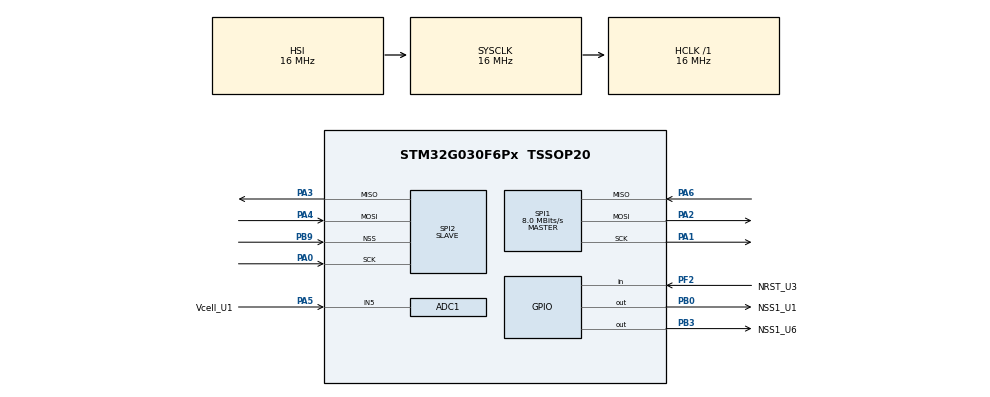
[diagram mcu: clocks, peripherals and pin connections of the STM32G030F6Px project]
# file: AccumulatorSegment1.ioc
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ADC1.Channel-0\#ChannelRegularConversion=ADC_CHANNEL_5
ADC1.NbrOfConversionFlag=1
ADC1.Rank-0\#ChannelRegularConversion=1
ADC1.SamplingTime-0\#ChannelRegularConversion=ADC_SAMPLINGTIME_COMMON_1
ADC1.master=1
Mcu.Family=STM32G0
Mcu.Name=STM32G030F6Px
Mcu.Package=TSSOP20
PA0.Mode=Full_Duplex_Slave
PA0.Signal=SPI2_SCK
PA1.Mode=Full_Duplex_Master
PA1.Signal=SPI1_SCK
PA13.Mode=Serial_Wire
PA13.Signal=SYS_SWDIO
PA14-BOOT0.Mode=Serial_Wire
PA14-BOOT0.Signal=SYS_SWCLK
PA2.Mode=Full_Duplex_Master
PA2.Signal=SPI1_MOSI
PA3.Mode=Full_Duplex_Slave
PA3.Signal=SPI2_MISO
PA4.Mode=Full_Duplex_Slave
PA4.Signal=SPI2_MOSI
PA5.GPIO_Label=Vcell_U1
PA5.Mode=IN5
PA5.Signal=ADC1_IN5
PA6.Mode=Full_Duplex_Master
PA6.Signal=SPI1_MISO
PB0.GPIO_Label=NSS1_U1
PB0.Signal=GPIO_Output
PB3.GPIO_Label=NSS1_U6
PB3.Signal=GPIO_Output
PB9.Mode=NSS_Signal_Hard_Input
PB9.Signal=SPI2_NSS
PF2\ -\ NRST.GPIO_Label=NRST_U3
PF2\ -\ NRST.Signal=GPIO_Input
ProjectManager.HeapSize=0x200
ProjectManager.StackSize=0x400
ProjectManager.TargetToolchain=EWARM V8.32
RCC.AHBFreq_Value=16000000
RCC.CortexFreq_Value=16000000
RCC.EXTERNAL_CLOCK_VALUE=12288000
RCC.HCLKFreq_Value=16000000
RCC.HSE_VALUE=8000000
RCC.HSI_VALUE=16000000
RCC.LSE_VALUE=32768
RCC.SYSCLKFreq_VALUE=16000000
RCC.VCOOutputFreq_Value=128000000
SPI1.CalculateBaudRate=8.0 MBits/s
SPI1.Direction=SPI_DIRECTION_2LINES
SPI1.Mode=SPI_MODE_MASTER
SPI1.VirtualType=VM_MASTER
SPI2.Direction=SPI_DIRECTION_2LINES
SPI2.Mode=SPI_MODE_SLAVE
SPI2.VirtualNSS=VM_NSSHARD
SPI2.VirtualType=VM_SLAVE
board=custom

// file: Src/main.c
/* USER CODE BEGIN Header */
/**
  ******************************************************************************
  * @file           : main.c
  * @brief          : Main program body
  ******************************************************************************
  * @attention
  *
  * <h2><center>&copy; Copyright (c) 2022 STMicroelectronics.
  * All rights reserved.</center></h2>
  *
  * This software component is licensed by ST under BSD 3-Clause license,
  * the "License"; You may not use this file except in compliance with the
  * License. You may obtain a copy of the License at:
  *                        opensource.org/licenses/BSD-3-Clause
  *
  ******************************************************************************
  */
/* USER CODE END Header */

#include "main.h"

/* USER CODE BEGIN PD */
#define SPI_TIMEOUT 50

#define ECS_HIGH 	0x80
#define SC0_HIGH 	0x40
#define SC1_HIGH 	0x20
#define SC2_HIGH 	0x10
#define SC3_HIGH 	0x08
#define SMPLB_HIGH 	0x04
#define DIAG_HIGH 	0x02
#define LOPW_HIGH 	0x01
/* USER CODE END PD */

ADC_HandleTypeDef hadc1;

SPI_HandleTypeDef hspi1;
SPI_HandleTypeDef hspi2;

void SystemClock_Config(void);
static void MX_GPIO_Init(void);
static void MX_ADC1_Init(void);
static void MX_SPI1_Init(void);
static void MX_SPI2_Init(void);

/* USER CODE BEGIN 0 */
int
/* USER CODE END 0 */

int main(void)
{

	/* MCU Configuration--------------------------------------------------------*/

	/* Reset of all peripherals, Initializes the Flash interface and the Systick. */
	HAL_Init();

	/* Configure the system clock */
	SystemClock_Config();

	/* Initialize all configured peripherals */
	MX_GPIO_Init();
	MX_ADC1_Init();
	MX_SPI1_Init();
	MX_SPI2_Init();
	/* USER CODE BEGIN 2 */

	//Initialize chip select GPIO pins.
	//These are active low, so SETing turns it off and RESETing turns it on.
	//Set SPI1 bus to talk to U1. This never needs to go off
	HAL_GPIO_WritePin(NSS1_U1_GPIO_PORT, NSS1_U1_PIN, GPIO_PIN_RESET);
	//Set SPI1 bus to not talk to U6
	HAL_GPIO_WritePin(NSS1_U6_GPIO_PORT, NSS1_U6_PIN, GPIO_PIN_SET);

	unsigned char u1_buffer_in[] = {0x00, 0x00, 0x80};
	unsigned char * balance_low = &u1_buffer_in[0];
	unsigned char * balance_high = &u1_buffer_in[1];
	unsigned char * config = &u1_buffer_in[2];

	uint16_t cell_voltages[12] = {0};
	uint16_t u6_buffer_in[4] = {0};
	/* USER CODE END 2 */

	/* Infinite loop */
	while (1)
	{

		//sorry in advance for the indentation

		*balance_low = 0;
		*balance_high = 0;
		//Measure voltage of every set of cells
		for (int i = 0; i < 12; i++) {
		  *config = 0x80;
		  //Set SC0 through SC3, depending on the value of i
		  int cell = i;
		  if (cell / 8 != 0) {
			  i -= 8;
			  *config = *config || SC3_HIGH;
		  }
		  if (i / 4 != 0) {
			  cell -= 4;
			  *config = *config || SC2_HIGH;
		  }
		  if (i / 2 != 0) {
			  cell -= 2;
			  *config = *config || SC1_HIGH;
		  }
		  if (cell == 1) {
			  *config = *config || SC0_HIGH;
		  }
		  //tell MAX14920 to measure voltage of cell i
		  HAL_SPI_Transmit(&hspi1, u1_buffer_in, 3, SPI_TIMEOUT);

		  //time delay to allow voltage measurement to settle.
		  //According to MAX14920 datasheet, we should have a delay of over 5us.
		  //I was gonna do this with a bunch of NOP instructions, but it turns out
		  //	that reading from ADC takes a few microseconds anyways.
		//		  for (int j = 0; j < 200; j++) {
		//			  asm("NOP");
		//		  }

		  //read voltage of cell i from ADC
		  HAL_ADC_Start(&hadc1);
		  HAL_ADC_PollForConversion(&adc1, 2);
		  cell_voltages[i] = HAL_ADC_GetValue(&hadc1);
		}

		HAL_SPI_Transmit(&hspi2, cell_voltages, 12 * sizeof(uint16_t), SPI_TIMEOUT);

		//Set SPI1 bus to talk to the other MAX14920
		HAL_GPIO_WritePin(NSS1_U6_GPIO_PORT, NSS1_U6_PIN, GPIO_PIN_RESET);

		//wait for cell voltages to come in over SPI from the other MAX14920.
		//we don't actually need the values (the BMS_controller does) but we want to make sure
		//we wait for them.

		HAL_SPI_Recieve(&hspi2, buffer_in, 4, 200);

		//we don't need to get info from the other MAX14920 anymore, so disconnect it
		HAL_GPIO_WritePin(NSS1_U6_GPIO_PORT, NSS1_U6_PIN, GPIO_PIN_SET);

	}
}

void SystemClock_Config(void)
{
  RCC_OscInitTypeDef RCC_OscInitStruct = {0};
  RCC_ClkInitTypeDef RCC_ClkInitStruct = {0};
  RCC_PeriphCLKInitTypeDef PeriphClkInit = {0};

  /** Configure the main internal regulator output voltage
  */
  HAL_PWREx_ControlVoltageScaling(PWR_REGULATOR_VOLTAGE_SCALE1);
  /** Initializes the CPU, AHB and APB busses clocks
  */
  RCC_OscInitStruct.OscillatorType = RCC_OSCILLATORTYPE_HSI;
  RCC_OscInitStruct.HSIState = RCC_HSI_ON;
  RCC_OscInitStruct.HSIDiv = RCC_HSI_DIV1;
  RCC_OscInitStruct.HSICalibrationValue = RCC_HSICALIBRATION_DEFAULT;
  RCC_OscInitStruct.PLL.PLLState = RCC_PLL_NONE;
  if (HAL_RCC_OscConfig(&RCC_OscInitStruct) != HAL_OK)
  {
    Error_Handler();
  }
  /** Initializes the CPU, AHB and APB busses clocks
  */
  RCC_ClkInitStruct.ClockType = RCC_CLOCKTYPE_HCLK|RCC_CLOCKTYPE_SYSCLK
                              |RCC_CLOCKTYPE_PCLK1;
  RCC_ClkInitStruct.SYSCLKSource = RCC_SYSCLKSOURCE_HSI;
  RCC_ClkInitStruct.AHBCLKDivider = RCC_SYSCLK_DIV1;
  RCC_ClkInitStruct.APB1CLKDivider = RCC_HCLK_DIV1;

  if (HAL_RCC_ClockConfig(&RCC_ClkInitStruct, FLASH_LATENCY_0) != HAL_OK)
  {
    Error_Handler();
  }
  /** Initializes the peripherals clocks
  */
  PeriphClkInit.PeriphClockSelection = RCC_PERIPHCLK_ADC;
  PeriphClkInit.AdcClockSelection = RCC_ADCCLKSOURCE_SYSCLK;
  if (HAL_RCCEx_PeriphCLKConfig(&PeriphClkInit) != HAL_OK)
  {
    Error_Handler();
  }
}

static void MX_ADC1_Init(void)
{

  ADC_ChannelConfTypeDef sConfig = {0};

  /** Configure the global features of the ADC (Clock, Resolution, Data Alignment and number of conversion)
  */
  hadc1.Instance = ADC1;
  hadc1.Init.ClockPrescaler = ADC_CLOCK_SYNC_PCLK_DIV2;
  hadc1.Init.Resolution = ADC_RESOLUTION_12B;
  hadc1.Init.DataAlign = ADC_DATAALIGN_RIGHT;
  hadc1.Init.ScanConvMode = ADC_SCAN_DISABLE;
  hadc1.Init.EOCSelection = ADC_EOC_SINGLE_CONV;
  hadc1.Init.LowPowerAutoWait = DISABLE;
  hadc1.Init.LowPowerAutoPowerOff = DISABLE;
  hadc1.Init.ContinuousConvMode = DISABLE;
  hadc1.Init.NbrOfConversion = 1;
  hadc1.Init.DiscontinuousConvMode = DISABLE;
  hadc1.Init.ExternalTrigConv = ADC_SOFTWARE_START;
  hadc1.Init.ExternalTrigConvEdge = ADC_EXTERNALTRIGCONVEDGE_NONE;
  hadc1.Init.DMAContinuousRequests = DISABLE;
  hadc1.Init.Overrun = ADC_OVR_DATA_PRESERVED;
  hadc1.Init.SamplingTimeCommon1 = ADC_SAMPLETIME_1CYCLE_5;
  hadc1.Init.SamplingTimeCommon2 = ADC_SAMPLETIME_1CYCLE_5;
  hadc1.Init.OversamplingMode = DISABLE;
  hadc1.Init.TriggerFrequencyMode = ADC_TRIGGER_FREQ_HIGH;
  if (HAL_ADC_Init(&hadc1) != HAL_OK)
  {
    Error_Handler();
  }
  /** Configure Regular Channel
  */
  sConfig.Channel = ADC_CHANNEL_5;
  sConfig.Rank = ADC_REGULAR_RANK_1;
  sConfig.SamplingTime = ADC_SAMPLINGTIME_COMMON_1;
  if (HAL_ADC_ConfigChannel(&hadc1, &sConfig) != HAL_OK)
  {
    Error_Handler();
  }

}

static void MX_SPI1_Init(void)
{

  /* SPI1 parameter configuration*/
  hspi1.Instance = SPI1;
  hspi1.Init.Mode = SPI_MODE_MASTER;
  hspi1.Init.Direction = SPI_DIRECTION_2LINES;
  hspi1.Init.DataSize = SPI_DATASIZE_8BIT;
  hspi1.Init.CLKPolarity = SPI_POLARITY_LOW;
  hspi1.Init.CLKPhase = SPI_PHASE_1EDGE;
  hspi1.Init.NSS = SPI_NSS_SOFT;
  hspi1.Init.BaudRatePrescaler = SPI_BAUDRATEPRESCALER_2;
  hspi1.Init.FirstBit = SPI_FIRSTBIT_MSB;
  hspi1.Init.TIMode = SPI_TIMODE_DISABLE;
  hspi1.Init.CRCCalculation = SPI_CRCCALCULATION_DISABLE;
  hspi1.Init.CRCPolynomial = 7;
  hspi1.Init.CRCLength = SPI_CRC_LENGTH_DATASIZE;
  hspi1.Init.NSSPMode = SPI_NSS_PULSE_ENABLE;
  if (HAL_SPI_Init(&hspi1) != HAL_OK)
  {
    Error_Handler();
  }

}

static void MX_SPI2_Init(void)
{

  /* SPI2 parameter configuration*/
  hspi2.Instance = SPI2;
  hspi2.Init.Mode = SPI_MODE_SLAVE;
  hspi2.Init.Direction = SPI_DIRECTION_2LINES;
  hspi2.Init.DataSize = SPI_DATASIZE_8BIT;
  hspi2.Init.CLKPolarity = SPI_POLARITY_LOW;
  hspi2.Init.CLKPhase = SPI_PHASE_1EDGE;
  hspi2.Init.NSS = SPI_NSS_HARD_INPUT;
  hspi2.Init.FirstBit = SPI_FIRSTBIT_MSB;
  hspi2.Init.TIMode = SPI_TIMODE_DISABLE;
  hspi2.Init.CRCCalculation = SPI_CRCCALCULATION_DISABLE;
  hspi2.Init.CRCPolynomial = 7;
  hspi2.Init.CRCLength = SPI_CRC_LENGTH_DATASIZE;
  hspi2.Init.NSSPMode = SPI_NSS_PULSE_DISABLE;
  if (HAL_SPI_Init(&hspi2) != HAL_OK)
  {
    Error_Handler();
  }

}

static void MX_GPIO_Init(void)
{
  GPIO_InitTypeDef GPIO_InitStruct = {0};

  /* GPIO Ports Clock Enable */
  __HAL_RCC_GPIOB_CLK_ENABLE();
  __HAL_RCC_GPIOF_CLK_ENABLE();
  __HAL_RCC_GPIOA_CLK_ENABLE();

  /*Configure GPIO pin Output Level */
  HAL_GPIO_WritePin(GPIOB, NSS1_U1_Pin|NSS1_U6_Pin, GPIO_PIN_RESET);

  /*Configure GPIO pin : NRST_U3_Pin */
  GPIO_InitStruct.Pin = NRST_U3_Pin;
  GPIO_InitStruct.Mode = GPIO_MODE_INPUT;
  GPIO_InitStruct.Pull = GPIO_NOPULL;
  HAL_GPIO_Init(NRST_U3_GPIO_Port, &GPIO_InitStruct);

  /*Configure GPIO pins : NSS1_U1_Pin NSS1_U6_Pin */
  GPIO_InitStruct.Pin = NSS1_U1_Pin|NSS1_U6_Pin;
  GPIO_InitStruct.Mode = GPIO_MODE_OUTPUT_PP;
  GPIO_InitStruct.Pull = GPIO_NOPULL;
  GPIO_InitStruct.Speed = GPIO_SPEED_FREQ_LOW;
  HAL_GPIO_Init(GPIOB, &GPIO_InitStruct);

}

void Error_Handler(void)
{
}

/************************ (C) COPYRIGHT STMicroelectronics *****END OF FILE****/
